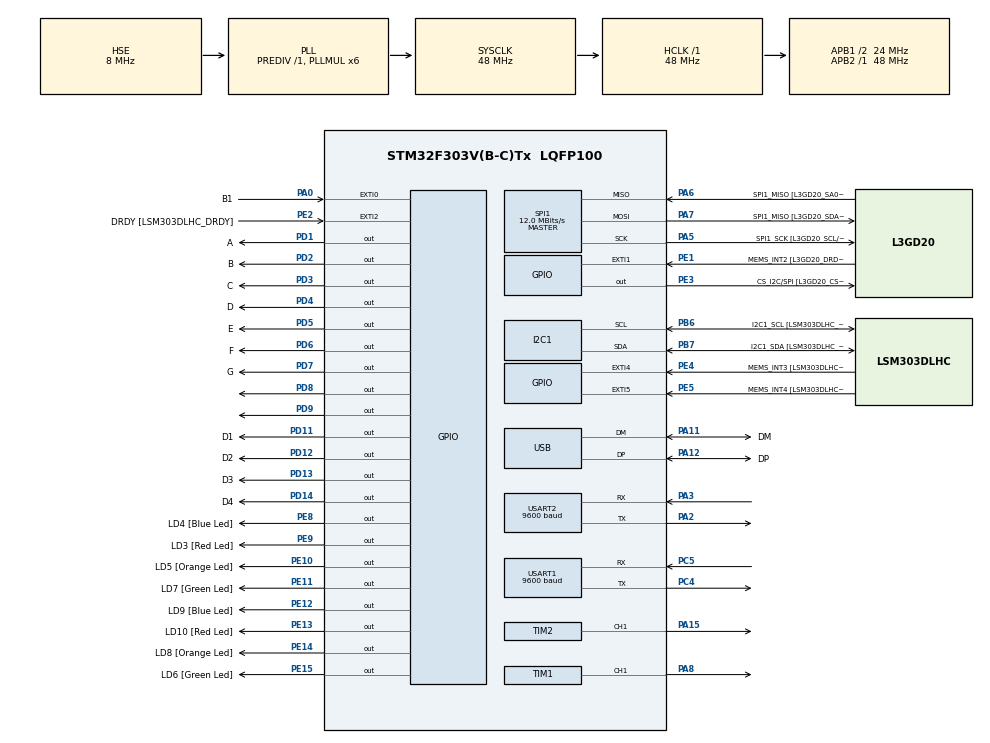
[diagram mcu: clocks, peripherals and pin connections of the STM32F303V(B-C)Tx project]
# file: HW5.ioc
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I2C1.Timing-I2C=0x2000090E
Mcu.Family=STM32F3
Mcu.Name=STM32F303V(B-C)Tx
Mcu.Package=LQFP100
NVIC.EXTI0_IRQn=true\:0\:0\:false\:false\:true\:true\:true\:true
NVIC.PriorityGroup=NVIC_PRIORITYGROUP_0
NVIC.TIM3_IRQn=true\:0\:0\:false\:false\:true\:true\:true\:true
NVIC.USART1_IRQn=true\:0\:0\:false\:false\:true\:true\:true\:true
NVIC.USART2_IRQn=true\:0\:0\:false\:false\:true\:true\:true\:true
PA0.GPIO_Label=B1
PA0.GPIO_PuPd=GPIO_PULLDOWN
PA0.Signal=GPXTI0
PA11.GPIO_Label=DM
PA11.Mode=Device
PA11.Signal=USB_DM
PA12.GPIO_Label=DP
PA12.Mode=Device
PA12.Signal=USB_DP
PA13.GPIO_Label=SWDIO
PA13.Mode=Serial_Wire
PA13.Signal=SYS_JTMS-SWDIO
PA14.GPIO_Label=SWCLK
PA14.Mode=Serial_Wire
PA14.Signal=SYS_JTCK-SWCLK
PA15.Signal=S_TIM2_CH1_ETR
PA2.Mode=Asynchronous
PA2.Signal=USART2_TX
PA3.Mode=Asynchronous
PA3.Signal=USART2_RX
PA5.GPIO_Label=SPI1_SCK [L3GD20_SCL/SPC]
PA5.Mode=Full_Duplex_Master
PA5.Signal=SPI1_SCK
PA6.GPIO_Label=SPI1_MISO [L3GD20_SA0/SDO]
PA6.Mode=Full_Duplex_Master
PA6.Signal=SPI1_MISO
PA7.GPIO_Label=SPI1_MISO [L3GD20_SDA/SDI/SDO]
PA7.Mode=Full_Duplex_Master
PA7.Signal=SPI1_MOSI
PA8.Signal=S_TIM1_CH1
PB3.GPIO_Label=SWO
PB3.Signal=SYS_JTDO-TRACESWO
PB6.GPIO_Label=I2C1_SCL [LSM303DLHC_SCL]
PB6.GPIO_Pu=GPIO_PULLUP
PB6.Mode=I2C
PB6.Signal=I2C1_SCL
PB7.GPIO_Label=I2C1_SDA [LSM303DLHC_SDA]
PB7.GPIO_Pu=GPIO_PULLUP
PB7.Mode=I2C
PB7.Signal=I2C1_SDA
PC14-OSC32_IN.GPIO_Label=OSC32_IN
PC14-OSC32_IN.Signal=RCC_OSC32_IN
PC15-OSC32_OUT.GPIO_Label=OSC32_OUT
PC15-OSC32_OUT.Signal=RCC_OSC32_OUT
PC4.Mode=Asynchronous
PC4.Signal=USART1_TX
PC5.Mode=Asynchronous
PC5.Signal=USART1_RX
PD1.GPIO_Label=A
PD1.Signal=GPIO_Output
PD11.GPIO_Label=D1
PD11.Signal=GPIO_Output
PD12.GPIO_Label=D2
PD12.Signal=GPIO_Output
PD13.GPIO_Label=D3
PD13.Signal=GPIO_Output
PD14.GPIO_Label=D4
PD14.Signal=GPIO_Output
PD2.GPIO_Label=B
PD2.Signal=GPIO_Output
PD3.GPIO_Label=C
PD3.Signal=GPIO_Output
PD4.GPIO_Label=D
PD4.Signal=GPIO_Output
PD5.GPIO_Label=E
PD5.Signal=GPIO_Output
PD6.GPIO_Label=F
PD6.Signal=GPIO_Output
PD7.GPIO_Label=G
PD7.Signal=GPIO_Output
PD8.Signal=GPIO_Output
PD9.Signal=GPIO_Output
PE1.GPIO_Label=MEMS_INT2 [L3GD20_DRDY/INT2]
PE1.GPIO_ModeDefaultEXTI=GPIO_MODE_EVT_RISING
PE1.Signal=GPXTI1
PE10.GPIO_Label=LD5 [Orange Led]
PE10.Signal=GPIO_Output
PE11.GPIO_Label=LD7 [Green Led]
PE11.Signal=GPIO_Output
PE12.GPIO_Label=LD9 [Blue Led]
PE12.Signal=GPIO_Output
PE13.GPIO_Label=LD10 [Red Led]
PE13.Signal=GPIO_Output
PE14.GPIO_Label=LD8 [Orange Led]
PE14.Signal=GPIO_Output
PE15.GPIO_Label=LD6 [Green Led]
PE15.Signal=GPIO_Output
PE2.GPIO_Label=DRDY [LSM303DLHC_DRDY]
PE2.GPIO_ModeDefaultEXTI=GPIO_MODE_EVT_RISING
PE2.Signal=GPXTI2
PE3.GPIO_Label=CS_I2C/SPI [L3GD20_CS_I2C/SPI]
PE3.Signal=GPIO_Output
PE4.GPIO_Label=MEMS_INT3 [LSM303DLHC_INT1]
PE4.GPIO_ModeDefaultEXTI=GPIO_MODE_EVT_RISING
PE4.Signal=GPXTI4
PE5.GPIO_Label=MEMS_INT4 [LSM303DLHC_INT2]
PE5.GPIO_ModeDefaultEXTI=GPIO_MODE_EVT_RISING
PE5.Signal=GPXTI5
PE8.GPIO_Label=LD4 [Blue Led]
PE8.Signal=GPIO_Output
PE9.GPIO_Label=LD3 [Red Led]
PE9.Signal=GPIO_Output
PF0-OSC_IN.GPIO_Label=OSC_IN
PF0-OSC_IN.Mode=HSE-External-Clock-Source
PF0-OSC_IN.Signal=RCC_OSC_IN
PF1-OSC_OUT.GPIO_Label=OSC_OUT
PF1-OSC_OUT.Signal=RCC_OSC_OUT
ProjectManager.HeapSize=0x200
ProjectManager.StackSize=0x400
ProjectManager.TargetToolchain=STM32CubeIDE
RCC.AHBFreq_Value=48000000
RCC.APB1CLKDivider=RCC_HCLK_DIV2
RCC.APB1Freq_Value=24000000
RCC.APB1TimFreq_Value=48000000
RCC.APB2Freq_Value=48000000
RCC.APB2TimFreq_Value=48000000
RCC.CortexFreq_Value=48000000
RCC.HCLKFreq_Value=48000000
RCC.HSE_VALUE=8000000
RCC.HSI_VALUE=8000000
RCC.LSE_VALUE=32768
RCC.PLLMUL=RCC_PLL_MUL6
RCC.SYSCLKFreq_VALUE=48000000
RCC.SYSCLKSourceVirtual=RCC_SYSCLKSOURCE_PLLCLK
RCC.USBFreq_Value=48000000
SH.S_TIM1_CH1.0=TIM1_CH1,PWM Generation1 CH1
SH.S_TIM2_CH1_ETR.0=TIM2_CH1,PWM Generation1 CH1
SPI1.BaudRatePrescaler=SPI_BAUDRATEPRESCALER_4
SPI1.BaudRatePrescaler-Full_Duplex_Master=SPI_BAUDRATEPRESCALER_2
SPI1.CalculateBaudRate=12.0 MBits/s
SPI1.CalculateBaudRate-Full_Duplex_Master=24.0 MBits/s
SPI1.Direction=SPI_DIRECTION_2LINES
SPI1.Mode=SPI_MODE_MASTER
SPI1.Mode-Full_Duplex_Master=SPI_MODE_MASTER
SPI1.VirtualType=VM_MASTER
TIM1.Channel-PWM\ Generation1\ CH1=TIM_CHANNEL_1
TIM2.Channel-PWM\ Generation1\ CH1=TIM_CHANNEL_1
TIM2.Period=1000 - 1
TIM2.Prescaler=4800 - 1
TIM3.Period=10 - 1
TIM3.Prescaler=4800 - 1
USART1.BaudRate=9600
USART1.VirtualMode-Asynchronous=VM_ASYNC
USART2.BaudRate=9600
USART2.VirtualMode-Asynchronous=VM_ASYNC
VP_TIM1_VS_ClockSourceINT.Mode=Internal
VP_TIM2_VS_ClockSourceINT.Mode=Internal
VP_TIM3_VS_ClockSourceINT.Mode=Internal
board=STM32F3DISCOVERY

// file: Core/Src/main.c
/* USER CODE BEGIN Header */
/**
 ******************************************************************************
 * @file           : main.c
 * @brief          : Main program body
 ******************************************************************************
 * @attention
 *
 * Copyright (c) 2023 STMicroelectronics.
 * All rights reserved.
 *
 * This software is licensed under terms that can be found in the LICENSE file
 * in the root directory of this software component.
 * If no LICENSE file comes with this software, it is provided AS-IS.
 *
 ******************************************************************************
 */
/* USER CODE END Header */
#include "main.h"

I2C_HandleTypeDef hi2c1;

SPI_HandleTypeDef hspi1;

TIM_HandleTypeDef htim1;
TIM_HandleTypeDef htim2;
TIM_HandleTypeDef htim3;

UART_HandleTypeDef huart1;
UART_HandleTypeDef huart2;

PCD_HandleTypeDef hpcd_USB_FS;

/* USER CODE BEGIN PV */
char unsigned chr[1];
int t_timer = 0;
int deley = 0;
/* USER CODE END PV */

void SystemClock_Config(void);
static void MX_GPIO_Init(void);
static void MX_I2C1_Init(void);
static void MX_SPI1_Init(void);
static void MX_USB_PCD_Init(void);
static void MX_TIM3_Init(void);
static void MX_USART1_UART_Init(void);
static void MX_USART2_UART_Init(void);
static void MX_TIM2_Init(void);
static void MX_TIM1_Init(void);

int main(void)
{

	/* MCU Configuration--------------------------------------------------------*/

	/* Reset of all peripherals, Initializes the Flash interface and the Systick. */
	HAL_Init();

	/* Configure the system clock */
	SystemClock_Config();

	/* Initialize all configured peripherals */
	MX_GPIO_Init();
	MX_I2C1_Init();
	MX_SPI1_Init();
	MX_USB_PCD_Init();
	MX_TIM3_Init();
	MX_USART1_UART_Init();
	MX_USART2_UART_Init();
	MX_TIM2_Init();
	MX_TIM1_Init();
	/* USER CODE BEGIN 2 */
	HAL_UART_Receive_IT(&huart2, chr,1);
	buzzerInit();
	HAL_TIM_Base_Start_IT(&htim1);
	HAL_TIM_Base_Start_IT(&htim2);
	HAL_TIM_Base_Start_IT(&htim3);
	/* USER CODE END 2 */

	/* Infinite loop */
	while (1)
	{

	}
}

void SystemClock_Config(void)
{
	RCC_OscInitTypeDef RCC_OscInitStruct = {0};
	RCC_ClkInitTypeDef RCC_ClkInitStruct = {0};
	RCC_PeriphCLKInitTypeDef PeriphClkInit = {0};

	/** Initializes the RCC Oscillators according to the specified parameters
	 * in the RCC_OscInitTypeDef structure.
	 */
	RCC_OscInitStruct.OscillatorType = RCC_OSCILLATORTYPE_HSI|RCC_OSCILLATORTYPE_HSE;
	RCC_OscInitStruct.HSEState = RCC_HSE_BYPASS;
	RCC_OscInitStruct.HSEPredivValue = RCC_HSE_PREDIV_DIV1;
	RCC_OscInitStruct.HSIState = RCC_HSI_ON;
	RCC_OscInitStruct.HSICalibrationValue = RCC_HSICALIBRATION_DEFAULT;
	RCC_OscInitStruct.PLL.PLLState = RCC_PLL_ON;
	RCC_OscInitStruct.PLL.PLLSource = RCC_PLLSOURCE_HSE;
	RCC_OscInitStruct.PLL.PLLMUL = RCC_PLL_MUL6;
	if (HAL_RCC_OscConfig(&RCC_OscInitStruct) != HAL_OK)
	{
		Error_Handler();
	}

	/** Initializes the CPU, AHB and APB buses clocks
	 */
	RCC_ClkInitStruct.ClockType = RCC_CLOCKTYPE_HCLK|RCC_CLOCKTYPE_SYSCLK
			|RCC_CLOCKTYPE_PCLK1|RCC_CLOCKTYPE_PCLK2;
	RCC_ClkInitStruct.SYSCLKSource = RCC_SYSCLKSOURCE_PLLCLK;
	RCC_ClkInitStruct.AHBCLKDivider = RCC_SYSCLK_DIV1;
	RCC_ClkInitStruct.APB1CLKDivider = RCC_HCLK_DIV2;
	RCC_ClkInitStruct.APB2CLKDivider = RCC_HCLK_DIV1;

	if (HAL_RCC_ClockConfig(&RCC_ClkInitStruct, FLASH_LATENCY_1) != HAL_OK)
	{
		Error_Handler();
	}
	PeriphClkInit.PeriphClockSelection = RCC_PERIPHCLK_USB|RCC_PERIPHCLK_USART1
			|RCC_PERIPHCLK_USART2|RCC_PERIPHCLK_I2C1
			|RCC_PERIPHCLK_TIM1;
	PeriphClkInit.Usart1ClockSelection = RCC_USART1CLKSOURCE_PCLK2;
	PeriphClkInit.Usart2ClockSelection = RCC_USART2CLKSOURCE_PCLK1;
	PeriphClkInit.I2c1ClockSelection = RCC_I2C1CLKSOURCE_HSI;
	PeriphClkInit.USBClockSelection = RCC_USBCLKSOURCE_PLL;
	PeriphClkInit.Tim1ClockSelection = RCC_TIM1CLK_HCLK;
	if (HAL_RCCEx_PeriphCLKConfig(&PeriphClkInit) != HAL_OK)
	{
		Error_Handler();
	}
}

static void MX_I2C1_Init(void)
{

	hi2c1.Instance = I2C1;
	hi2c1.Init.Timing = 0x2000090E;
	hi2c1.Init.OwnAddress1 = 0;
	hi2c1.Init.AddressingMode = I2C_ADDRESSINGMODE_7BIT;
	hi2c1.Init.DualAddressMode = I2C_DUALADDRESS_DISABLE;
	hi2c1.Init.OwnAddress2 = 0;
	hi2c1.Init.OwnAddress2Masks = I2C_OA2_NOMASK;
	hi2c1.Init.GeneralCallMode = I2C_GENERALCALL_DISABLE;
	hi2c1.Init.NoStretchMode = I2C_NOSTRETCH_DISABLE;
	if (HAL_I2C_Init(&hi2c1) != HAL_OK)
	{
		Error_Handler();
	}

	/** Configure Analogue filter
	 */
	if (HAL_I2CEx_ConfigAnalogFilter(&hi2c1, I2C_ANALOGFILTER_ENABLE) != HAL_OK)
	{
		Error_Handler();
	}

	/** Configure Digital filter
	 */
	if (HAL_I2CEx_ConfigDigitalFilter(&hi2c1, 0) != HAL_OK)
	{
		Error_Handler();
	}

}

static void MX_SPI1_Init(void)
{

	/* SPI1 parameter configuration*/
	hspi1.Instance = SPI1;
	hspi1.Init.Mode = SPI_MODE_MASTER;
	hspi1.Init.Direction = SPI_DIRECTION_2LINES;
	hspi1.Init.DataSize = SPI_DATASIZE_4BIT;
	hspi1.Init.CLKPolarity = SPI_POLARITY_LOW;
	hspi1.Init.CLKPhase = SPI_PHASE_1EDGE;
	hspi1.Init.NSS = SPI_NSS_SOFT;
	hspi1.Init.BaudRatePrescaler = SPI_BAUDRATEPRESCALER_4;
	hspi1.Init.FirstBit = SPI_FIRSTBIT_MSB;
	hspi1.Init.TIMode = SPI_TIMODE_DISABLE;
	hspi1.Init.CRCCalculation = SPI_CRCCALCULATION_DISABLE;
	hspi1.Init.CRCPolynomial = 7;
	hspi1.Init.CRCLength = SPI_CRC_LENGTH_DATASIZE;
	hspi1.Init.NSSPMode = SPI_NSS_PULSE_ENABLE;
	if (HAL_SPI_Init(&hspi1) != HAL_OK)
	{
		Error_Handler();
	}

}

static void MX_TIM1_Init(void)
{

	TIM_ClockConfigTypeDef sClockSourceConfig = {0};
	TIM_MasterConfigTypeDef sMasterConfig = {0};
	TIM_OC_InitTypeDef sConfigOC = {0};
	TIM_BreakDeadTimeConfigTypeDef sBreakDeadTimeConfig = {0};

	htim1.Instance = TIM1;
	htim1.Init.Prescaler = 0;
	htim1.Init.CounterMode = TIM_COUNTERMODE_UP;
	htim1.Init.Period = 65535;
	htim1.Init.ClockDivision = TIM_CLOCKDIVISION_DIV1;
	htim1.Init.RepetitionCounter = 0;
	htim1.Init.AutoReloadPreload = TIM_AUTORELOAD_PRELOAD_DISABLE;
	if (HAL_TIM_Base_Init(&htim1) != HAL_OK)
	{
		Error_Handler();
	}
	sClockSourceConfig.ClockSource = TIM_CLOCKSOURCE_INTERNAL;
	if (HAL_TIM_ConfigClockSource(&htim1, &sClockSourceConfig) != HAL_OK)
	{
		Error_Handler();
	}
	if (HAL_TIM_PWM_Init(&htim1) != HAL_OK)
	{
		Error_Handler();
	}
	sMasterConfig.MasterOutputTrigger = TIM_TRGO_RESET;
	sMasterConfig.MasterOutputTrigger2 = TIM_TRGO2_RESET;
	sMasterConfig.MasterSlaveMode = TIM_MASTERSLAVEMODE_DISABLE;
	if (HAL_TIMEx_MasterConfigSynchronization(&htim1, &sMasterConfig) != HAL_OK)
	{
		Error_Handler();
	}
	sConfigOC.OCMode = TIM_OCMODE_PWM1;
	sConfigOC.Pulse = 0;
	sConfigOC.OCPolarity = TIM_OCPOLARITY_HIGH;
	sConfigOC.OCNPolarity = TIM_OCNPOLARITY_HIGH;
	sConfigOC.OCFastMode = TIM_OCFAST_DISABLE;
	sConfigOC.OCIdleState = TIM_OCIDLESTATE_RESET;
	sConfigOC.OCNIdleState = TIM_OCNIDLESTATE_RESET;
	if (HAL_TIM_PWM_ConfigChannel(&htim1, &sConfigOC, TIM_CHANNEL_1) != HAL_OK)
	{
		Error_Handler();
	}
	sBreakDeadTimeConfig.OffStateRunMode = TIM_OSSR_DISABLE;
	sBreakDeadTimeConfig.OffStateIDLEMode = TIM_OSSI_DISABLE;
	sBreakDeadTimeConfig.LockLevel = TIM_LOCKLEVEL_OFF;
	sBreakDeadTimeConfig.DeadTime = 0;
	sBreakDeadTimeConfig.BreakState = TIM_BREAK_DISABLE;
	sBreakDeadTimeConfig.BreakPolarity = TIM_BREAKPOLARITY_HIGH;
	sBreakDeadTimeConfig.BreakFilter = 0;
	sBreakDeadTimeConfig.Break2State = TIM_BREAK2_DISABLE;
	sBreakDeadTimeConfig.Break2Polarity = TIM_BREAK2POLARITY_HIGH;
	sBreakDeadTimeConfig.Break2Filter = 0;
	sBreakDeadTimeConfig.AutomaticOutput = TIM_AUTOMATICOUTPUT_DISABLE;
	if (HAL_TIMEx_ConfigBreakDeadTime(&htim1, &sBreakDeadTimeConfig) != HAL_OK)
	{
		Error_Handler();
	}
	HAL_TIM_MspPostInit(&htim1);

}

static void MX_TIM2_Init(void)
{

	TIM_ClockConfigTypeDef sClockSourceConfig = {0};
	TIM_MasterConfigTypeDef sMasterConfig = {0};
	TIM_OC_InitTypeDef sConfigOC = {0};

	htim2.Instance = TIM2;
	htim2.Init.Prescaler = 4800 - 1;
	htim2.Init.CounterMode = TIM_COUNTERMODE_UP;
	htim2.Init.Period = 1000 - 1;
	htim2.Init.ClockDivision = TIM_CLOCKDIVISION_DIV1;
	htim2.Init.AutoReloadPreload = TIM_AUTORELOAD_PRELOAD_DISABLE;
	if (HAL_TIM_Base_Init(&htim2) != HAL_OK)
	{
		Error_Handler();
	}
	sClockSourceConfig.ClockSource = TIM_CLOCKSOURCE_INTERNAL;
	if (HAL_TIM_ConfigClockSource(&htim2, &sClockSourceConfig) != HAL_OK)
	{
		Error_Handler();
	}
	if (HAL_TIM_PWM_Init(&htim2) != HAL_OK)
	{
		Error_Handler();
	}
	sMasterConfig.MasterOutputTrigger = TIM_TRGO_RESET;
	sMasterConfig.MasterSlaveMode = TIM_MASTERSLAVEMODE_DISABLE;
	if (HAL_TIMEx_MasterConfigSynchronization(&htim2, &sMasterConfig) != HAL_OK)
	{
		Error_Handler();
	}
	sConfigOC.OCMode = TIM_OCMODE_PWM1;
	sConfigOC.Pulse = 0;
	sConfigOC.OCPolarity = TIM_OCPOLARITY_HIGH;
	sConfigOC.OCFastMode = TIM_OCFAST_DISABLE;
	if (HAL_TIM_PWM_ConfigChannel(&htim2, &sConfigOC, TIM_CHANNEL_1) != HAL_OK)
	{
		Error_Handler();
	}
	HAL_TIM_MspPostInit(&htim2);

}

static void MX_TIM3_Init(void)
{

	TIM_ClockConfigTypeDef sClockSourceConfig = {0};
	TIM_MasterConfigTypeDef sMasterConfig = {0};

	htim3.Instance = TIM3;
	htim3.Init.Prescaler = 4800 - 1;
	htim3.Init.CounterMode = TIM_COUNTERMODE_UP;
	htim3.Init.Period = 10 - 1;
	htim3.Init.ClockDivision = TIM_CLOCKDIVISION_DIV1;
	htim3.Init.AutoReloadPreload = TIM_AUTORELOAD_PRELOAD_DISABLE;
	if (HAL_TIM_Base_Init(&htim3) != HAL_OK)
	{
		Error_Handler();
	}
	sClockSourceConfig.ClockSource = TIM_CLOCKSOURCE_INTERNAL;
	if (HAL_TIM_ConfigClockSource(&htim3, &sClockSourceConfig) != HAL_OK)
	{
		Error_Handler();
	}
	sMasterConfig.MasterOutputTrigger = TIM_TRGO_RESET;
	sMasterConfig.MasterSlaveMode = TIM_MASTERSLAVEMODE_DISABLE;
	if (HAL_TIMEx_MasterConfigSynchronization(&htim3, &sMasterConfig) != HAL_OK)
	{
		Error_Handler();
	}

}

static void MX_USART1_UART_Init(void)
{

	huart1.Instance = USART1;
	huart1.Init.BaudRate = 9600;
	huart1.Init.WordLength = UART_WORDLENGTH_8B;
	huart1.Init.StopBits = UART_STOPBITS_1;
	huart1.Init.Parity = UART_PARITY_NONE;
	huart1.Init.Mode = UART_MODE_TX_RX;
	huart1.Init.HwFlowCtl = UART_HWCONTROL_NONE;
	huart1.Init.OverSampling = UART_OVERSAMPLING_16;
	huart1.Init.OneBitSampling = UART_ONE_BIT_SAMPLE_DISABLE;
	huart1.AdvancedInit.AdvFeatureInit = UART_ADVFEATURE_NO_INIT;
	if (HAL_UART_Init(&huart1) != HAL_OK)
	{
		Error_Handler();
	}

}

static void MX_USART2_UART_Init(void)
{

	huart2.Instance = USART2;
	huart2.Init.BaudRate = 9600;
	huart2.Init.WordLength = UART_WORDLENGTH_8B;
	huart2.Init.StopBits = UART_STOPBITS_1;
	huart2.Init.Parity = UART_PARITY_NONE;
	huart2.Init.Mode = UART_MODE_TX_RX;
	huart2.Init.HwFlowCtl = UART_HWCONTROL_NONE;
	huart2.Init.OverSampling = UART_OVERSAMPLING_16;
	huart2.Init.OneBitSampling = UART_ONE_BIT_SAMPLE_DISABLE;
	huart2.AdvancedInit.AdvFeatureInit = UART_ADVFEATURE_NO_INIT;
	if (HAL_UART_Init(&huart2) != HAL_OK)
	{
		Error_Handler();
	}

}

static void MX_USB_PCD_Init(void)
{

	hpcd_USB_FS.Instance = USB;
	hpcd_USB_FS.Init.dev_endpoints = 8;
	hpcd_USB_FS.Init.speed = PCD_SPEED_FULL;
	hpcd_USB_FS.Init.phy_itface = PCD_PHY_EMBEDDED;
	hpcd_USB_FS.Init.low_power_enable = DISABLE;
	hpcd_USB_FS.Init.battery_charging_enable = DISABLE;
	if (HAL_PCD_Init(&hpcd_USB_FS) != HAL_OK)
	{
		Error_Handler();
	}

}

static void MX_GPIO_Init(void)
{
	GPIO_InitTypeDef GPIO_InitStruct = {0};

	/* GPIO Ports Clock Enable */
	__HAL_RCC_GPIOE_CLK_ENABLE();
	__HAL_RCC_GPIOC_CLK_ENABLE();
	__HAL_RCC_GPIOF_CLK_ENABLE();
	__HAL_RCC_GPIOA_CLK_ENABLE();
	__HAL_RCC_GPIOD_CLK_ENABLE();
	__HAL_RCC_GPIOB_CLK_ENABLE();

	/*Configure GPIO pin Output Level */
	HAL_GPIO_WritePin(GPIOE, CS_I2C_SPI_Pin|LD4_Pin|LD3_Pin|LD5_Pin
			|LD7_Pin|LD9_Pin|LD10_Pin|LD8_Pin
			|LD6_Pin, GPIO_PIN_RESET);

	/*Configure GPIO pin Output Level */
	HAL_GPIO_WritePin(GPIOD, GPIO_PIN_8|GPIO_PIN_9|D1_Pin|D2_Pin
			|D3_Pin|D4_Pin|A_Pin|B_Pin
			|C_Pin|D_Pin|E_Pin|F_Pin
			|G_Pin, GPIO_PIN_RESET);

	/*Configure GPIO pins : DRDY_Pin MEMS_INT3_Pin MEMS_INT4_Pin MEMS_INT2_Pin */
	GPIO_InitStruct.Pin = DRDY_Pin|MEMS_INT3_Pin|MEMS_INT4_Pin|MEMS_INT2_Pin;
	GPIO_InitStruct.Mode = GPIO_MODE_EVT_RISING;
	GPIO_InitStruct.Pull = GPIO_NOPULL;
	HAL_GPIO_Init(GPIOE, &GPIO_InitStruct);

	/*Configure GPIO pins : CS_I2C_SPI_Pin LD4_Pin LD3_Pin LD5_Pin
                           LD7_Pin LD9_Pin LD10_Pin LD8_Pin
                           LD6_Pin */
	GPIO_InitStruct.Pin = CS_I2C_SPI_Pin|LD4_Pin|LD3_Pin|LD5_Pin
			|LD7_Pin|LD9_Pin|LD10_Pin|LD8_Pin
			|LD6_Pin;
	GPIO_InitStruct.Mode = GPIO_MODE_OUTPUT_PP;
	GPIO_InitStruct.Pull = GPIO_NOPULL;
	GPIO_InitStruct.Speed = GPIO_SPEED_FREQ_LOW;
	HAL_GPIO_Init(GPIOE, &GPIO_InitStruct);

	/*Configure GPIO pin : B1_Pin */
	GPIO_InitStruct.Pin = B1_Pin;
	GPIO_InitStruct.Mode = GPIO_MODE_IT_RISING;
	GPIO_InitStruct.Pull = GPIO_PULLDOWN;
	HAL_GPIO_Init(B1_GPIO_Port, &GPIO_InitStruct);

	/*Configure GPIO pins : PD8 PD9 D1_Pin D2_Pin
                           D3_Pin D4_Pin A_Pin B_Pin
                           C_Pin D_Pin E_Pin F_Pin
                           G_Pin */
	GPIO_InitStruct.Pin = GPIO_PIN_8|GPIO_PIN_9|D1_Pin|D2_Pin
			|D3_Pin|D4_Pin|A_Pin|B_Pin
			|C_Pin|D_Pin|E_Pin|F_Pin
			|G_Pin;
	GPIO_InitStruct.Mode = GPIO_MODE_OUTPUT_PP;
	GPIO_InitStruct.Pull = GPIO_NOPULL;
	GPIO_InitStruct.Speed = GPIO_SPEED_FREQ_LOW;
	HAL_GPIO_Init(GPIOD, &GPIO_InitStruct);

	/* EXTI interrupt init*/
	HAL_NVIC_SetPriority(EXTI0_IRQn, 0, 0);
	HAL_NVIC_EnableIRQ(EXTI0_IRQn);

}

/* USER CODE BEGIN 4 */
void HAL_GPIO_EXTI_Callback(uint16_t GPIO_Pin){

	if (GPIO_Pin == B1_Pin)
	{
		static uint32_t last = 0;
		if(HAL_GetTick() - last < 500)
			return;

		last = HAL_GetTick();

		deley += 100;
		if(deley ==  1000)
		{
			deley = 0;
		}
	}
}
void HAL_UART_RxCpltCallback(UART_HandleTypeDef *huart)
{
	if (huart->Instance == USART2)
	{
		if(deley != 0)
			buzzerChangeTone(chr[0] * 140 - 13400 , 5);
		t_timer = 0;
	}
	HAL_UART_Receive_IT(&huart2, chr,1);
}
int d;
void HAL_TIM_PeriodElapsedCallback(TIM_HandleTypeDef *htim){
	if (htim->Instance == TIM3)
	{
		if(deley < t_timer)
		{
			t_timer = 0;
			buzzerChangeTone(RESET, 0);
		}
		d = deley;
		int ones = d % 10;
		d /= 10;
		int tens = d % 10;
		d /= 10;
		int houndred = d % 10;
		d /= 10;
		int thousend = d % 10;
		if(t_timer % 4 == 0)
		{
			num_to_seven(ones);
			HAL_GPIO_WritePin(GPIOD, D1_Pin, 1);
			HAL_GPIO_WritePin(GPIOD, D2_Pin, 1);
			HAL_GPIO_WritePin(GPIOD, D3_Pin, 1);
			HAL_GPIO_WritePin(GPIOD, D4_Pin, 0);

		}else if(t_timer % 4 == 1)
		{

			num_to_seven(tens);
			HAL_GPIO_WritePin(GPIOD, D1_Pin, 1);
			HAL_GPIO_WritePin(GPIOD, D2_Pin, 1);
			HAL_GPIO_WritePin(GPIOD, D3_Pin, 0);
			HAL_GPIO_WritePin(GPIOD, D4_Pin, 1);

		}else if(t_timer % 4 == 2)
		{

			num_to_seven(houndred);
			HAL_GPIO_WritePin(GPIOD, D1_Pin, 1);
			HAL_GPIO_WritePin(GPIOD, D2_Pin, 0);
			HAL_GPIO_WritePin(GPIOD, D3_Pin, 1);
			HAL_GPIO_WritePin(GPIOD, D4_Pin, 1);

		}else if(t_timer % 4 == 3)
		{

			num_to_seven(thousend);
			HAL_GPIO_WritePin(GPIOD, D1_Pin, 0);
			HAL_GPIO_WritePin(GPIOD, D2_Pin, 1);
			HAL_GPIO_WritePin(GPIOD, D3_Pin, 1);
			HAL_GPIO_WritePin(GPIOD, D4_Pin, 1);

		}
		t_timer++;
	}
}
void num_to_seven(int i)
{
	int x1 = i & 1;
	int x2 = i & 2;
	int x3 = i & 4;
	int x4 = i & 8;
	if (x1 > 0) x1 = 1;
	if (x2 > 0) x2 = 1;
	if (x3 > 0) x3 = 1;
	if (x4 > 0) x4 = 1;
	HAL_GPIO_WritePin(GPIOD, A_Pin, x1);
	HAL_GPIO_WritePin(GPIOD, B_Pin, x2);
	HAL_GPIO_WritePin(GPIOD, C_Pin, x3);
	HAL_GPIO_WritePin(GPIOD, D_Pin, x4);
}
TIM_HandleTypeDef *buzzerPwmTimer;
uint32_t buzzerPwmChannel;

void buzzerInit() {
	buzzerPwmTimer = &htim2;
	buzzerPwmChannel = TIM_CHANNEL_1;
	HAL_TIM_PWM_Start(buzzerPwmTimer, buzzerPwmChannel);
}

void buzzerChangeTone(uint16_t freq, uint16_t volume) {
	if (freq == 0 || freq > 20000) {
		__HAL_TIM_SET_COMPARE(buzzerPwmTimer, buzzerPwmChannel, 0);
	} else {
		const uint32_t internalClockFreq = HAL_RCC_GetSysClockFreq();
		const uint32_t prescaler = 1 + internalClockFreq / freq / 60000;
		const uint32_t timerClock = internalClockFreq / prescaler;
		const uint32_t periodCycles = timerClock / freq;
		const uint32_t pulseWidth = volume * periodCycles / 1000 / 2;

		buzzerPwmTimer->Instance->PSC = prescaler - 1;
		buzzerPwmTimer->Instance->ARR = periodCycles - 1;
		buzzerPwmTimer->Instance->EGR = TIM_EGR_UG;

		__HAL_TIM_SET_COMPARE(buzzerPwmTimer, buzzerPwmChannel, pulseWidth);
	}
}
/* USER CODE END 4 */

void Error_Handler(void)
{
	__disable_irq();
	while (1)
	{
	}
}
